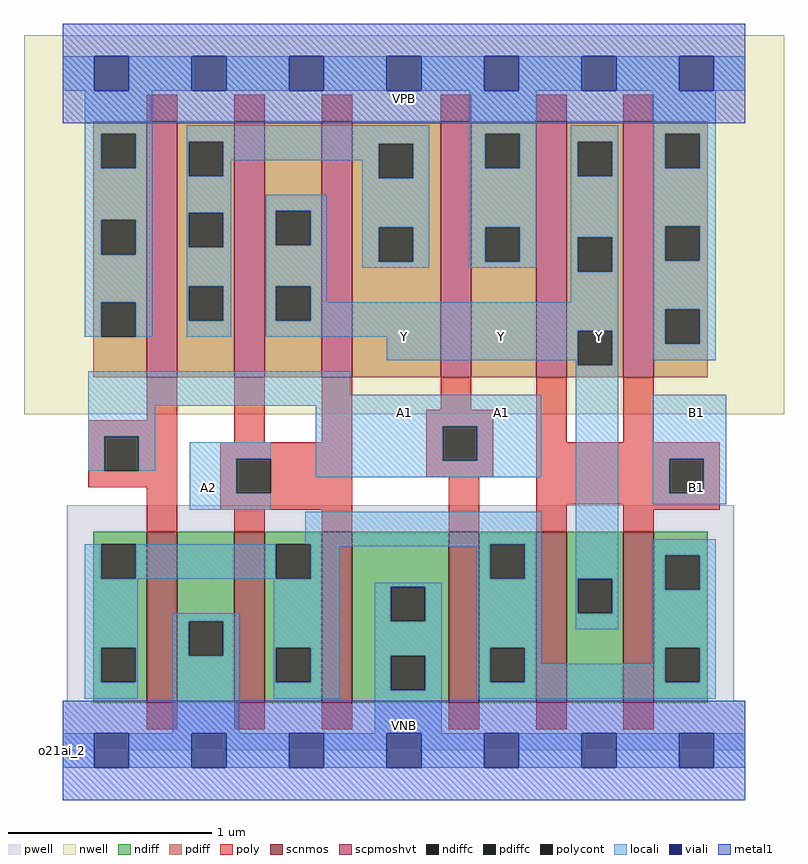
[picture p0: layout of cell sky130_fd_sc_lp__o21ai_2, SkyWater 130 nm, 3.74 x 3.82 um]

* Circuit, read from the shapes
.subckt sky130_fd_sc_lp__o21ai_2 A1 A2 B1 VGND VNB VPB VPWR Y
XM1 VGND A1 n1 VNB sky130_fd_pr__nfet_01v8 w=0.84 l=0.15 m=2
XM2 n1 A2 VGND VNB sky130_fd_pr__nfet_01v8 w=0.84 l=0.15 m=2
XM3 Y B1 n1 VNB sky130_fd_pr__nfet_01v8 w=0.84 l=0.15 m=2
XM4 n2 A1 VPWR VPB sky130_fd_pr__pfet_01v8_hvt w=1.26 l=0.15 m=2
XM5 Y A2 n2 VPB sky130_fd_pr__pfet_01v8_hvt w=1.26 l=0.15 m=2
XM6 Y B1 VPWR VPB sky130_fd_pr__pfet_01v8_hvt w=1.26 l=0.15 m=2
.ends

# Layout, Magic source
magic
tech sky130A
magscale 1 2
<< nwell >>
rect -38 331 710 704
<< pwell >>
rect 4 49 661 241
rect 0 0 672 49
<< scnmos >>
rect 83 47 113 215
rect 169 47 199 215
rect 255 47 285 215
rect 380 47 410 215
rect 466 47 496 215
rect 552 47 582 215
<< scpmoshvt >>
rect 83 367 113 619
rect 169 367 199 619
rect 255 367 285 619
rect 372 367 402 619
rect 466 367 496 619
rect 552 367 582 619
<< ndiff >>
rect 30 203 83 215
rect 30 169 38 203
rect 72 169 83 203
rect 30 101 83 169
rect 30 67 38 101
rect 72 67 83 101
rect 30 47 83 67
rect 113 127 169 215
rect 113 93 124 127
rect 158 93 169 127
rect 113 47 169 93
rect 199 203 255 215
rect 199 169 210 203
rect 244 169 255 203
rect 199 101 255 169
rect 199 67 210 101
rect 244 67 255 101
rect 199 47 255 67
rect 285 161 380 215
rect 285 127 323 161
rect 357 127 380 161
rect 285 93 380 127
rect 285 59 323 93
rect 357 59 380 93
rect 285 47 380 59
rect 410 203 466 215
rect 410 169 421 203
rect 455 169 466 203
rect 410 101 466 169
rect 410 67 421 101
rect 455 67 466 101
rect 410 47 466 67
rect 496 169 552 215
rect 496 135 507 169
rect 541 135 552 169
rect 496 47 552 135
rect 582 192 635 215
rect 582 158 593 192
rect 627 158 635 192
rect 582 101 635 158
rect 582 67 593 101
rect 627 67 635 101
rect 582 47 635 67
<< pdiff >>
rect 30 607 83 619
rect 30 573 38 607
rect 72 573 83 607
rect 30 522 83 573
rect 30 488 38 522
rect 72 488 83 522
rect 30 441 83 488
rect 30 407 38 441
rect 72 407 83 441
rect 30 367 83 407
rect 113 599 169 619
rect 113 565 124 599
rect 158 565 169 599
rect 113 529 169 565
rect 113 495 124 529
rect 158 495 169 529
rect 113 457 169 495
rect 113 423 124 457
rect 158 423 169 457
rect 113 367 169 423
rect 199 531 255 619
rect 199 497 210 531
rect 244 497 255 531
rect 199 457 255 497
rect 199 423 210 457
rect 244 423 255 457
rect 199 367 255 423
rect 285 597 372 619
rect 285 563 311 597
rect 345 563 372 597
rect 285 515 372 563
rect 285 481 311 515
rect 345 481 372 515
rect 285 367 372 481
rect 402 607 466 619
rect 402 573 416 607
rect 450 573 466 607
rect 402 515 466 573
rect 402 481 416 515
rect 450 481 466 515
rect 402 367 466 481
rect 496 599 552 619
rect 496 565 507 599
rect 541 565 552 599
rect 496 505 552 565
rect 496 471 507 505
rect 541 471 552 505
rect 496 413 552 471
rect 496 379 507 413
rect 541 379 552 413
rect 496 367 552 379
rect 582 607 635 619
rect 582 573 593 607
rect 627 573 635 607
rect 582 516 635 573
rect 582 482 593 516
rect 627 482 635 516
rect 582 434 635 482
rect 582 400 593 434
rect 627 400 635 434
rect 582 367 635 400
<< ndiffc >>
rect 38 169 72 203
rect 38 67 72 101
rect 124 93 158 127
rect 210 169 244 203
rect 210 67 244 101
rect 323 127 357 161
rect 323 59 357 93
rect 421 169 455 203
rect 421 67 455 101
rect 507 135 541 169
rect 593 158 627 192
rect 593 67 627 101
<< pdiffc >>
rect 38 573 72 607
rect 38 488 72 522
rect 38 407 72 441
rect 124 565 158 599
rect 124 495 158 529
rect 124 423 158 457
rect 210 497 244 531
rect 210 423 244 457
rect 311 563 345 597
rect 311 481 345 515
rect 416 573 450 607
rect 416 481 450 515
rect 507 565 541 599
rect 507 471 541 505
rect 507 379 541 413
rect 593 573 627 607
rect 593 482 627 516
rect 593 400 627 434
<< poly >>
rect 83 619 113 645
rect 169 619 199 645
rect 255 619 285 645
rect 372 619 402 645
rect 466 619 496 645
rect 552 619 582 645
rect 83 325 113 367
rect 25 309 113 325
rect 25 275 41 309
rect 75 275 113 309
rect 169 303 199 367
rect 255 303 285 367
rect 372 335 402 367
rect 25 259 113 275
rect 83 215 113 259
rect 155 287 285 303
rect 155 253 171 287
rect 205 253 285 287
rect 358 319 424 335
rect 358 285 374 319
rect 408 285 424 319
rect 358 269 424 285
rect 466 303 496 367
rect 552 303 582 367
rect 466 287 647 303
rect 155 237 285 253
rect 169 215 199 237
rect 255 215 285 237
rect 380 215 410 269
rect 466 253 597 287
rect 631 253 647 287
rect 466 242 647 253
rect 466 215 496 242
rect 552 237 647 242
rect 552 215 582 237
rect 83 21 113 47
rect 169 21 199 47
rect 255 21 285 47
rect 380 21 410 47
rect 466 21 496 47
rect 552 21 582 47
<< polycont >>
rect 41 275 75 309
rect 171 253 205 287
rect 374 285 408 319
rect 597 253 631 287
<< locali >>
rect 0 649 31 683
rect 65 649 127 683
rect 161 649 223 683
rect 257 649 319 683
rect 353 649 415 683
rect 449 649 511 683
rect 545 649 607 683
rect 641 649 672 683
rect 22 607 88 649
rect 22 573 38 607
rect 72 573 88 607
rect 22 522 88 573
rect 22 488 38 522
rect 72 488 88 522
rect 22 441 88 488
rect 22 407 38 441
rect 72 407 88 441
rect 122 599 361 615
rect 122 565 124 599
rect 158 597 361 599
rect 158 581 311 597
rect 158 565 166 581
rect 122 529 166 565
rect 295 563 311 581
rect 345 563 361 597
rect 122 495 124 529
rect 158 495 166 529
rect 122 457 166 495
rect 122 423 124 457
rect 158 423 166 457
rect 122 407 166 423
rect 200 531 260 547
rect 200 497 210 531
rect 244 497 260 531
rect 200 457 260 497
rect 295 515 361 563
rect 295 481 311 515
rect 345 481 361 515
rect 295 475 361 481
rect 400 607 466 649
rect 400 573 416 607
rect 450 573 466 607
rect 400 515 466 573
rect 400 481 416 515
rect 450 481 466 515
rect 400 475 466 481
rect 500 599 547 615
rect 500 565 507 599
rect 541 565 547 599
rect 500 505 547 565
rect 200 423 210 457
rect 244 441 260 457
rect 500 471 507 505
rect 541 471 547 505
rect 500 441 547 471
rect 244 423 547 441
rect 200 413 547 423
rect 200 407 507 413
rect 319 384 507 407
rect 505 379 507 384
rect 541 379 547 413
rect 581 607 643 649
rect 581 573 593 607
rect 627 573 643 607
rect 581 516 643 573
rect 581 482 593 516
rect 627 482 643 516
rect 581 434 643 482
rect 581 400 593 434
rect 627 400 643 434
rect 581 384 643 400
rect 25 350 283 373
rect 25 339 471 350
rect 25 309 91 339
rect 25 275 41 309
rect 75 275 91 309
rect 249 319 471 339
rect 125 287 205 303
rect 125 253 171 287
rect 249 285 374 319
rect 408 285 471 319
rect 249 269 471 285
rect 125 237 205 253
rect 239 203 471 235
rect 22 169 38 203
rect 72 169 210 203
rect 244 201 421 203
rect 244 169 273 201
rect 22 101 74 169
rect 22 67 38 101
rect 72 67 74 101
rect 22 51 74 67
rect 108 127 174 135
rect 108 93 124 127
rect 158 93 174 127
rect 108 17 174 93
rect 208 101 273 169
rect 407 169 421 201
rect 455 169 471 203
rect 208 67 210 101
rect 244 67 273 101
rect 208 51 273 67
rect 307 161 373 165
rect 307 127 323 161
rect 357 127 373 161
rect 307 93 373 127
rect 307 59 323 93
rect 357 59 373 93
rect 307 17 373 59
rect 407 101 471 169
rect 505 169 547 379
rect 581 287 653 350
rect 581 253 597 287
rect 631 253 653 287
rect 581 242 653 253
rect 505 135 507 169
rect 541 135 547 169
rect 505 119 547 135
rect 581 192 643 208
rect 581 158 593 192
rect 627 158 643 192
rect 407 67 421 101
rect 455 85 471 101
rect 581 101 643 158
rect 581 85 593 101
rect 455 67 593 85
rect 627 67 643 101
rect 407 51 643 67
rect 0 -17 31 17
rect 65 -17 127 17
rect 161 -17 223 17
rect 257 -17 319 17
rect 353 -17 415 17
rect 449 -17 511 17
rect 545 -17 607 17
rect 641 -17 672 17
<< viali >>
rect 31 649 65 683
rect 127 649 161 683
rect 223 649 257 683
rect 319 649 353 683
rect 415 649 449 683
rect 511 649 545 683
rect 607 649 641 683
rect 31 -17 65 17
rect 127 -17 161 17
rect 223 -17 257 17
rect 319 -17 353 17
rect 415 -17 449 17
rect 511 -17 545 17
rect 607 -17 641 17
<< metal1 >>
rect 0 683 672 715
rect 0 649 31 683
rect 65 649 127 683
rect 161 649 223 683
rect 257 649 319 683
rect 353 649 415 683
rect 449 649 511 683
rect 545 649 607 683
rect 641 649 672 683
rect 0 617 672 649
rect 0 17 672 49
rect 0 -17 31 17
rect 65 -17 127 17
rect 161 -17 223 17
rect 257 -17 319 17
rect 353 -17 415 17
rect 449 -17 511 17
rect 545 -17 607 17
rect 641 -17 672 17
rect 0 -49 672 -17
<< labels >>
flabel pwell s 0 0 672 49 0 FreeSans 200 0 0 0 VNB
port 5 nsew ground bidirectional
flabel nwell s 0 617 672 666 0 FreeSans 200 0 0 0 VPB
port 6 nsew power bidirectional
rlabel comment s 0 0 0 0 4 o21ai_2
flabel metal1 s 0 617 672 666 0 FreeSans 340 0 0 0 VPWR
port 7 nsew power bidirectional
flabel metal1 s 0 0 672 49 0 FreeSans 340 0 0 0 VGND
port 4 nsew ground bidirectional
flabel locali s 319 390 353 424 0 FreeSans 340 0 0 0 Y
port 8 nsew signal output
flabel locali s 415 390 449 424 0 FreeSans 340 0 0 0 Y
port 8 nsew signal output
flabel locali s 511 390 545 424 0 FreeSans 340 0 0 0 Y
port 8 nsew signal output
flabel locali s 319 316 353 350 0 FreeSans 340 0 0 0 A1
port 1 nsew signal input
flabel locali s 415 316 449 350 0 FreeSans 340 0 0 0 A1
port 1 nsew signal input
flabel locali s 127 242 161 276 0 FreeSans 340 0 0 0 A2
port 2 nsew signal input
flabel locali s 607 242 641 276 0 FreeSans 340 0 0 0 B1
port 3 nsew signal input
flabel locali s 607 316 641 350 0 FreeSans 340 0 0 0 B1
port 3 nsew signal input
<< properties >>
string LEFsite unit
string LEFclass CORE
string FIXED_BBOX 0 0 672 666
string GDS_FILE $PDKPATH/libs.ref/sky130_fd_sc_lp/gds/sky130_fd_sc_lp.gds
string LEFsymmetry X Y R90
string GDS_END 4532004
string GDS_START 4525078
<< end >>
